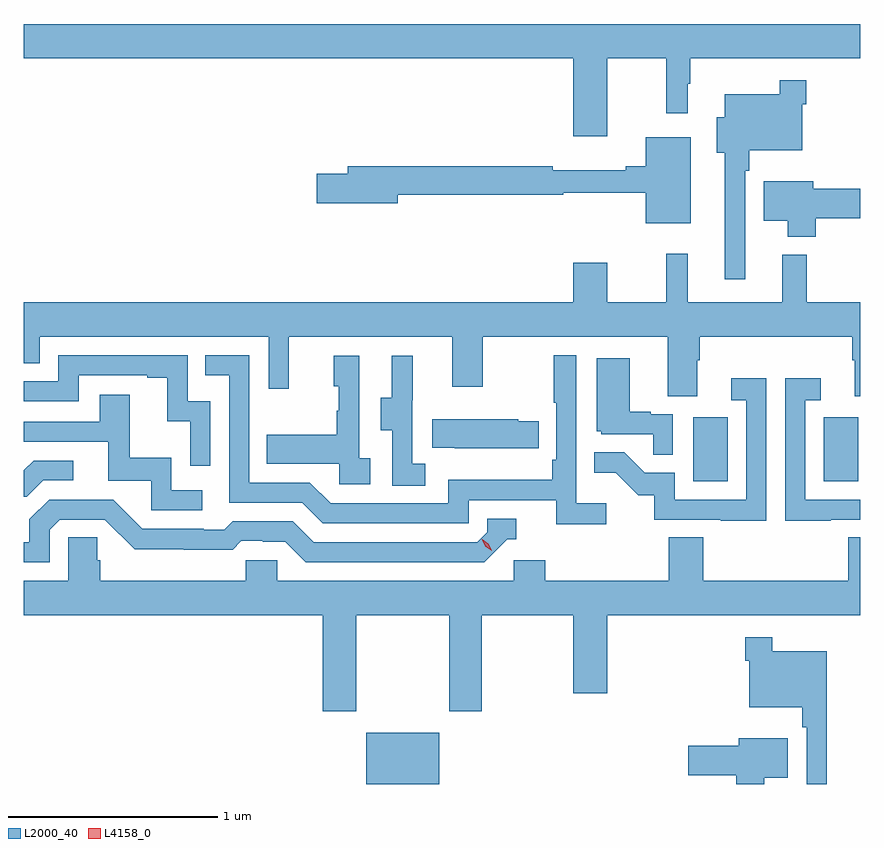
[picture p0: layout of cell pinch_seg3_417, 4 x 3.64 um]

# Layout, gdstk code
import gdstk
lib = gdstk.Library(unit=1e-6, precision=1e-09)
def R(c, l, rs):  # rectangles x0, y0, x1, y1
    for r in rs: c.add(gdstk.rectangle(r[:2], r[2:], *l))
def P(c, l, *ps):  # polygons
    for p in ps: c.add(gdstk.Polygon(p, *l))
L2000_40 = (2000, 40)
L4158_0 = (4158, 0)

pinch_seg3_417 = lib.new_cell('pinch_seg3_417')
R(pinch_seg3_417, L2000_40, [(895.286,697.444,895.636,697.69), (896.852,698.892,897.016,699.199), (897.476,698.892,897.64,699.199)])
P(pinch_seg3_417, L2000_40, [(896.44,700.916),(896.722,700.916),(896.722,700.653),(896.824,700.653),(896.824,700.793),(896.836,700.793),(896.836,700.916),(897.649,700.916),(897.649,701.08),(893.649,701.08),(893.649,700.916),(896.276,700.916),(896.276,700.542),(896.44,700.542)],
  [(897.099,700.379),(897.119,700.379),(897.119,700.475),(897.372,700.475),(897.372,700.697),(897.392,700.697),(897.392,700.81),(897.264,700.81),(897.264,700.744),(897.002,700.744),(897.002,700.633),(896.963,700.633),(896.963,700.463),(897.002,700.463),(897.002,699.858),(897.099,699.858)],
  [(896.839,700.537),(896.624,700.537),(896.624,700.4),(896.528,700.4),(896.528,700.381),(896.18,700.381),(896.18,700.4),(895.199,700.4),(895.199,700.364),(895.05,700.364),(895.05,700.222),(895.438,700.222),(895.438,700.264),(896.228,700.264),(896.228,700.272),(896.624,700.272),(896.624,700.127),(896.839,700.127)],
  [(897.437,700.15),(897.649,700.15),(897.649,700.292),(897.424,700.292),(897.424,700.327),(897.188,700.327),(897.188,700.139),(897.302,700.139),(897.302,700.061),(897.437,700.061)],
  [(896.869,699.472),(896.882,699.472),(896.882,699.584),(897.611,699.584),(897.611,699.472),(897.623,699.472),(897.623,699.298),(897.649,699.298),(897.649,699.748),(897.395,699.748),(897.395,699.976),(897.278,699.976),(897.278,699.748),(896.825,699.748),(896.825,699.982),(896.722,699.982),(896.722,699.748),(896.44,699.748),(896.44,699.937),(896.276,699.937),(896.276,699.748),(893.649,699.748),(893.649,699.457),(893.724,699.457),(893.724,699.584),(894.819,699.584),(894.819,699.336),(894.917,699.336),(894.917,699.584),(895.697,699.584),(895.697,699.345),(895.845,699.345),(895.845,699.584),(896.729,699.584),(896.729,699.298),(896.869,699.298)],
  [(896.434,698.788),(896.292,698.788),(896.292,699.496),(896.184,699.496),(896.184,699.268),(896.196,699.268),(896.196,698.995),(896.176,698.995),(896.176,698.899),(895.68,698.899),(895.68,698.787),(895.116,698.787),(895.017,698.886),(894.726,698.886),(894.726,699.495),(894.517,699.495),(894.517,699.399),(894.63,699.399),(894.63,698.79),(894.98,698.79),(895.079,698.691),(895.776,698.691),(895.776,698.802),(896.195,698.802),(896.195,698.686),(896.434,698.686)],
  [(894.54,699.276),(894.432,699.276),(894.432,699.495),(893.814,699.495),(893.814,699.372),(893.649,699.372),(893.649,699.276),(893.91,699.276),(893.91,699.399),(894.239,699.399),(894.239,699.387),(894.335,699.387),(894.335,699.179),(894.444,699.179),(894.444,698.967),(894.54,698.967)],
  [(895.57,698.975),(895.506,698.975),(895.506,699.279),(895.508,699.279),(895.508,699.493),(895.409,699.493),(895.409,699.291),(895.355,699.291),(895.355,699.136),(895.41,699.136),(895.41,698.872),(895.57,698.872)],
  [(895.306,699.002),(895.254,699.002),(895.254,699.493),(895.13,699.493),(895.13,699.348),(895.156,699.348),(895.156,699.23),(895.146,699.23),(895.146,699.115),(894.811,699.115),(894.811,698.975),(895.158,698.975),(895.158,698.877),(895.306,698.877)],
  [(896.754,699.213),(896.648,699.213),(896.648,699.226),(896.548,699.226),(896.548,699.481),(896.39,699.481),(896.39,699.132),(896.412,699.132),(896.412,699.117),(896.659,699.117),(896.659,699.019),(896.754,699.019)],
  [(897.509,698.709),(897.649,698.709),(897.649,698.805),(897.387,698.805),(897.387,699.279),(897.46,699.279),(897.46,699.385),(897.291,699.385),(897.291,698.704),(897.509,698.704)],
  [(897.201,699.385),(897.033,699.385),(897.033,699.279),(897.105,699.279),(897.105,698.805),(896.763,698.805),(896.763,698.934),(896.619,698.934),(896.521,699.032),(896.377,699.032),(896.377,698.933),(896.481,698.933),(896.588,698.826),(896.665,698.826),(896.665,698.709),(896.983,698.709),(896.983,698.704),(897.201,698.704)],
  [(894.502,698.85),(894.354,698.85),(894.354,699.004),(894.155,699.004),(894.155,699.307),(894.011,699.307),(894.011,699.177),(893.649,699.177),(893.649,699.081),(894.053,699.081),(894.053,698.895),(894.258,698.895),(894.258,698.754),(894.502,698.754)],
  [(896.111,699.18),(896.013,699.18),(896.013,699.19),(895.603,699.19),(895.603,699.053),(895.711,699.053),(895.711,699.05),(896.111,699.05)],
  [(893.742,698.898),(893.884,698.898),(893.884,698.991),(893.696,698.991),(893.649,698.944),(893.649,698.818),(893.662,698.818)],
  [(893.772,698.661),(893.82,698.709),(894.036,698.709),(894.178,698.567),(894.414,698.567),(894.414,698.565),(894.647,698.565),(894.689,698.607),(894.792,698.607),(894.792,698.604),(894.899,698.604),(894.998,698.505),(895.851,698.505),(895.962,698.616),(896.005,698.616),(896.005,698.712),(895.866,698.712),(895.866,698.649),(895.818,698.601),(895.035,698.601),(894.936,698.7),(894.647,698.7),(894.608,698.661),(894.509,698.661),(894.509,698.664),(894.216,698.664),(894.075,698.805),(893.769,698.805),(893.675,698.711),(893.675,698.601),(893.649,698.601),(893.649,698.505),(893.772,698.505)],
  [(895.239,698.252),(895.684,698.252),(895.684,697.791),(895.839,697.791),(895.839,698.252),(896.276,698.252),(896.276,697.878),(896.44,697.878),(896.44,698.252),(897.649,698.252),(897.649,698.624),(897.593,698.624),(897.593,698.416),(896.9,698.416),(896.9,698.624),(896.735,698.624),(896.735,698.416),(896.144,698.416),(896.144,698.514),(895.992,698.514),(895.992,698.416),(894.861,698.416),(894.861,698.514),(894.711,698.514),(894.711,698.416),(894.014,698.416),(894.014,698.514),(893.999,698.514),(893.999,698.624),(893.862,698.624),(893.862,698.416),(893.649,698.416),(893.649,698.252),(895.079,698.252),(895.079,697.791),(895.239,697.791)],
  [(897.49,698.08),(897.229,698.08),(897.229,698.146),(897.1,698.146),(897.1,698.033),(897.12,698.033),(897.12,697.811),(897.373,697.811),(897.373,697.715),(897.393,697.715),(897.393,697.444),(897.49,697.444)],
  [(897.19,697.475),(897.304,697.475),(897.304,697.663),(897.068,697.663),(897.068,697.628),(896.826,697.628),(896.826,697.486),(897.056,697.486),(897.056,697.444),(897.19,697.444)])
P(pinch_seg3_417, L4158_0, [(895.887,698.561),(895.856,698.581),(895.84,698.614),(895.84,698.614),(895.841,698.614),(895.871,698.594),(895.887,698.562),(895.887,698.561)])

lib.write_gds('pinch_seg3_417.gds')
